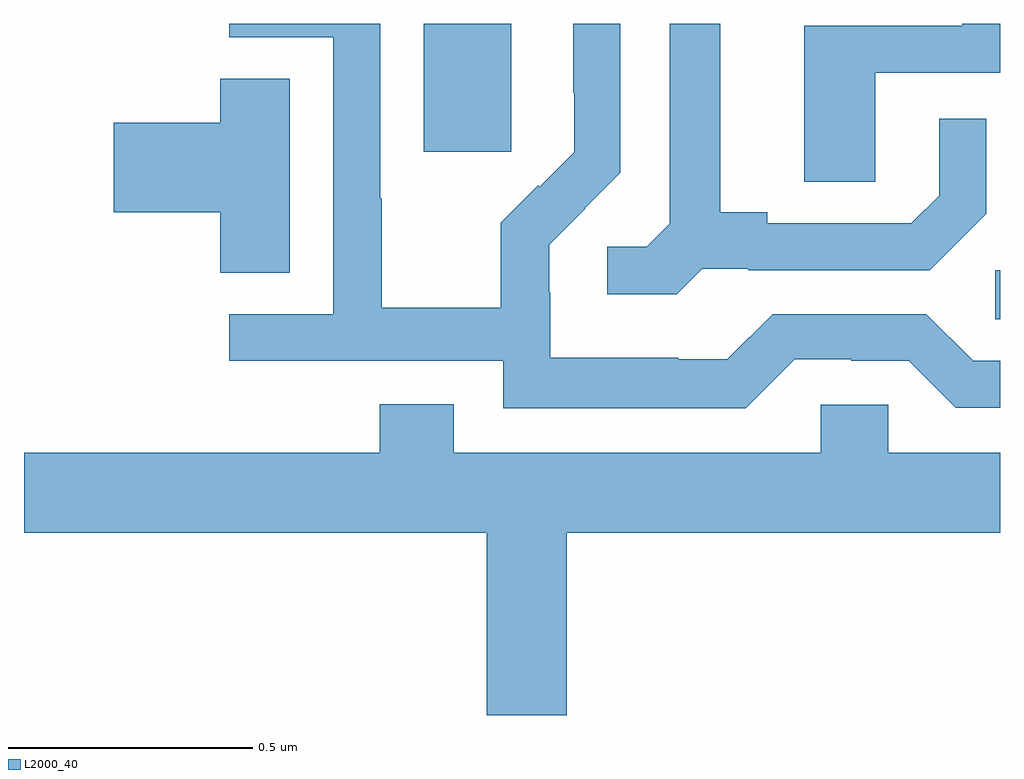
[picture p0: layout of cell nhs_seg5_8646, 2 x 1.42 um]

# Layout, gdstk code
import gdstk
lib = gdstk.Library(unit=1e-6, precision=1e-09)
def R(c, l, rs):  # rectangles x0, y0, x1, y1
    for r in rs: c.add(gdstk.rectangle(r[:2], r[2:], *l))
def P(c, l, *ps):  # polygons
    for p in ps: c.add(gdstk.Polygon(p, *l))
L2000_40 = (2000, 40)

nhs_seg5_8646 = lib.new_cell('nhs_seg5_8646')
R(nhs_seg5_8646, L2000_40, [(225.99,861.193,226,861.294), (224.819,861.537,224.998,861.799)])
P(nhs_seg5_8646, L2000_40, [(225.579,861.111),(225.695,861.111),(225.695,861.108),(225.813,861.108),(225.909,861.012),(226,861.012),(226,861.108),(225.945,861.108),(225.849,861.204),(225.534,861.204),(225.441,861.111),(225.341,861.111),(225.341,861.115),(225.078,861.115),(225.078,861.249),(225.076,861.249),(225.076,861.346),(225.15,861.42),(225.149,861.421),(225.222,861.494),(225.222,861.799),(225.126,861.799),(225.126,861.658),(225.128,861.658),(225.128,861.536),(225.057,861.465),(225.054,861.468),(224.977,861.391),(224.977,861.217),(224.733,861.217),(224.733,861.44),(224.73,861.44),(224.73,861.799),(224.421,861.799),(224.421,861.771),(224.634,861.771),(224.634,861.204),(224.421,861.204),(224.421,861.108),(224.982,861.108),(224.982,861.011),(225.479,861.011)],
  [(225.744,861.699),(226,861.699),(226,861.799),(225.923,861.799),(225.923,861.795),(225.599,861.795),(225.599,861.475),(225.744,861.475)],
  [(225.39,861.297),(225.484,861.297),(225.484,861.294),(225.856,861.294),(225.972,861.41),(225.972,861.604),(225.875,861.604),(225.875,861.447),(225.818,861.39),(225.523,861.39),(225.523,861.413),(225.427,861.413),(225.427,861.799),(225.323,861.799),(225.323,861.389),(225.276,861.342),(225.195,861.342),(225.195,861.245),(225.338,861.245)],
  [(224.545,861.686),(224.402,861.686),(224.402,861.596),(224.184,861.596),(224.184,861.413),(224.402,861.413),(224.402,861.289),(224.545,861.289)],
  [(225.112,860.756),(226,860.756),(226,860.92),(225.771,860.92),(225.771,861.018),(225.633,861.018),(225.633,860.92),(224.881,860.92),(224.881,861.019),(224.729,861.019),(224.729,860.92),(224,860.92),(224,860.756),(224.948,860.756),(224.948,860.382),(225.112,860.382)])

lib.write_gds('nhs_seg5_8646.gds')
